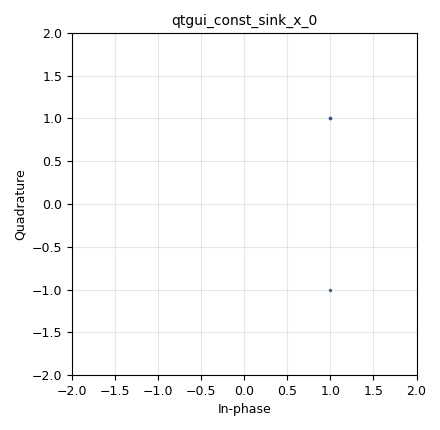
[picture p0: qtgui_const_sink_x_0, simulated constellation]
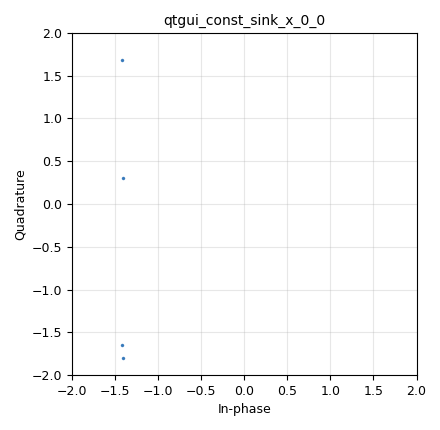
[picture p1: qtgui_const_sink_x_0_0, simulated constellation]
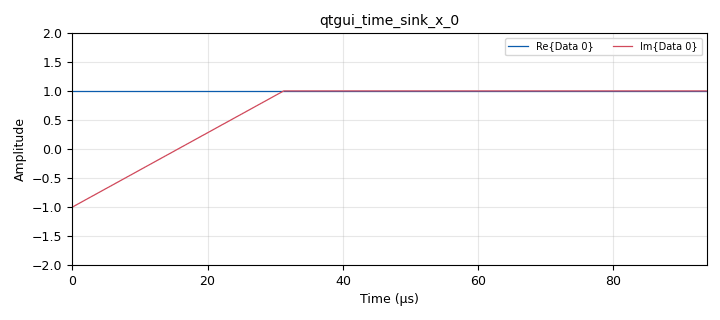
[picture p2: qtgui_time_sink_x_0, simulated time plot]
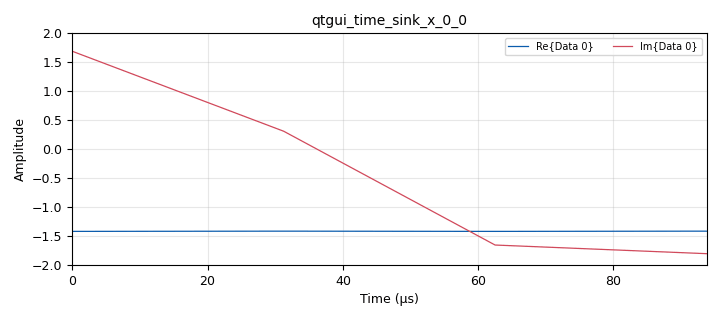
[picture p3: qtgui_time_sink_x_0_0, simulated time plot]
options:
  parameters:
    author: yabool2001
    copyright: mzemlo.pl@gmail.com
    description: QPSK demonstration test
    generate_options: qt_gui
    id: QPSK_test_02
    output_language: python
    title: QPSK test 02
  states: {}

blocks:
- name: const_obj
  id: variable_constellation
  parameters:
    precision: '8'
    type: qpsk
  states: {}
- name: samp_rate
  id: variable
  parameters:
    value: '32000'
  states: {}
- name: sps
  id: variable
  parameters:
    value: '2'
  states: {}
- name: blocks_message_debug_0
  id: blocks_message_debug
  parameters: {}
  states: {}
- name: blocks_message_strobe_1
  id: blocks_message_strobe
  parameters:
    msg: pmt.init_u8vector ( 1 , [ 0x00 , 0x01 , 0x02 , 0x03 ] )
    period: '1000'
  states: {}
- name: blocks_repack_bits_bb_0
  id: blocks_repack_bits_bb
  parameters:
    endianness: gr.GR_LSB_FIRST
    k: '8'
    l: '2'
    len_tag_key: packet_len
  states: {}
- name: blocks_throttle2_0
  id: blocks_throttle2
  parameters:
    samples_per_second: samp_rate
    type: byte
  states: {}
- name: blocks_vector_source_x_0
  id: blocks_vector_source_x
  parameters:
    repeat: 'True'
    type: byte
    vector: ( 0 , 1 , 1 , 0 )
  states: {state: disabled}
- name: digital_chunks_to_symbols_xx_0
  id: digital_chunks_to_symbols_xx
  parameters:
    dimension: '1'
    in_type: byte
    out_type: complex
    symbol_table: '[ 1+1j , -1+1j , -1-1j , 1-1j ]'
  states: {}
- name: digital_constellation_modulator_0
  id: digital_constellation_modulator
  parameters:
    constellation: const_obj
    differential: 'False'
    excess_bw: '0.35'
    log: 'True'
    samples_per_symbol: sps
  states: {}
- name: epy_block_0
  id: epy_block
  parameters:
    _source_code: |
      from gnuradio import gr
      import numpy as np
      import time
      import os

      class complex_logger(gr.sync_block):
          def __init__(self, samp_rate=32000, filename="complex_log.csv"):
              gr.sync_block.__init__(self,
                  name="COMPLEX FILE SINK",
                  in_sig=[np.complex64],
                  out_sig=None)
              self.filename = filename
              self.samp_rate = samp_rate
              self.start_time = time.time()

              file_exists = os.path.isfile(filename)
              self.f = open(filename, "w", encoding="utf-8")

              if not file_exists or os.stat(filename).st_size == 0:
                  self.f.write("timestamp;real;imag;samp_rate\n")

          def work(self, input_items, output_items):
              current_time = time.time()
              elapsed = current_time - self.start_time

              for c in input_items[0]:
                  timestamp = elapsed
                  ts = f"{timestamp:.6f}".replace('.', ',')
                  re = f"{c.real:.6f}".replace('.', ',')
                  im = f"{c.imag:.6f}".replace('.', ',')
                  sr = f"{self.samp_rate:.0f}".replace('.', ',')
                  self.f.write(f"{ts};{re};{im};{sr}\n")
                  elapsed += 1 / self.samp_rate

              self.f.flush()
              return len(input_items[0])
    filename: '"complex_log.csv"'
    samp_rate: samp_rate
  states: {}
- name: epy_block_0_0
  id: epy_block
  parameters:
    _source_code: |
      from gnuradio import gr
      import numpy as np
      import time
      import os

      class complex_sps_file_sink(gr.sync_block):
          def __init__(self, samp_rate=32000, sps=2, filename="complex_log.csv"):
              gr.sync_block.__init__(self,
                  name="Complex Sps File Sink",
                  in_sig=[np.complex64],
                  out_sig=None)
              self.filename = filename
              self.samp_rate = samp_rate
              self.sps = sps
              self.start_time = time.time()
              self.sample_index = 0  # licznik próbek

              file_exists = os.path.isfile(filename)
              self.f = open(filename, "w", encoding="utf-8")

              if not file_exists or os.stat(filename).st_size == 0:
                  self.f.write("timestamp;real;imag;symbol_index;samp_rate\n")

          def work(self, input_items, output_items):
              elapsed = time.time() - self.start_time
              for c in input_items[0]:
                  timestamp = elapsed
                  ts = f"{timestamp:.6f}".replace('.', ',')
                  re = f"{c.real:.6f}".replace('.', ',')
                  im = f"{c.imag:.6f}".replace('.', ',')
                  symbol_idx = str(self.sample_index // self.sps)
                  sr = f"{self.samp_rate:.0f}".replace('.', ',')

                  self.f.write(f"{ts};{re};{im};{symbol_idx};{sr}\n")

                  elapsed += 1 / self.samp_rate
                  self.sample_index += 1

              self.f.flush()
              return len(input_items[0])
    filename: '"complex_grc-mod_log.csv"'
    samp_rate: samp_rate
    sps: sps
  states: {}
- name: epy_block_1
  id: epy_block
  parameters:
    _source_code: |
      from gnuradio import gr
      import numpy as np
      import time
      import os

      class byte_logger(gr.sync_block):
          def __init__(self, samp_rate=32000, filename="byte_log.csv"):
              gr.sync_block.__init__(self,
                  name="BYTE FILE SINK",
                  in_sig=[np.uint8],
                  out_sig=None)
              self.filename = filename
              self.samp_rate = samp_rate
              self.start_time = time.time()

              file_exists = os.path.isfile(filename)
              self.f = open(filename, "w", encoding="utf-8")

              if not file_exists or os.stat(filename).st_size == 0:
                  self.f.write("timestamp;byte;samp_rate\n")

          def work(self, input_items, output_items):
              current_time = time.time()
              elapsed = current_time - self.start_time

              for i, b in enumerate(input_items[0]):
                  timestamp = elapsed + (i / self.samp_rate)
                  ts = f"{timestamp:.6f}".replace('.', ',')
                  val = str(b)
                  sr = f"{self.samp_rate:.0f}".replace('.', ',')
                  self.f.write(f"{ts};{val};{sr}\n")

              self.f.flush()
              return len(input_items[0])
    filename: '"byte_log.csv"'
    samp_rate: samp_rate
  states: {}
- name: pdu_pdu_to_tagged_stream_0
  id: pdu_pdu_to_tagged_stream
  parameters:
    tag: packet_len
    type: byte
  states: {}
- name: pdu_random_pdu_0
  id: pdu_random_pdu
  parameters:
    length_modulo: '1'
    mask: '0x03'
    maxsize: '1'
    minsize: '1'
  states: {}
- name: qtgui_const_sink_x_0
  id: qtgui_const_sink_x
  parameters:
    size: '4'
    type: complex
  states: {}
- name: qtgui_const_sink_x_0_0
  id: qtgui_const_sink_x
  parameters:
    size: '4'
    type: complex
  states: {}
- name: qtgui_time_sink_x_0
  id: qtgui_time_sink_x
  parameters:
    size: '4'
    srate: samp_rate
    type: complex
    ymax: '2'
    ymin: '-2'
  states: {}
- name: qtgui_time_sink_x_0_0
  id: qtgui_time_sink_x
  parameters:
    size: '4'
    srate: samp_rate
    type: complex
    ymax: '2'
    ymin: '-2'
  states: {}

connections:
- [blocks_message_strobe_1, strobe, pdu_random_pdu_0, generate]
- [blocks_repack_bits_bb_0, '0', digital_chunks_to_symbols_xx_0, '0']
- [blocks_throttle2_0, '0', blocks_repack_bits_bb_0, '0']
- [blocks_throttle2_0, '0', digital_constellation_modulator_0, '0']
- [digital_chunks_to_symbols_xx_0, '0', epy_block_0, '0']
- [digital_chunks_to_symbols_xx_0, '0', qtgui_const_sink_x_0, '0']
- [digital_chunks_to_symbols_xx_0, '0', qtgui_time_sink_x_0, '0']
- [digital_constellation_modulator_0, '0', epy_block_0_0, '0']
- [digital_constellation_modulator_0, '0', qtgui_const_sink_x_0_0, '0']
- [digital_constellation_modulator_0, '0', qtgui_time_sink_x_0_0, '0']
- [pdu_pdu_to_tagged_stream_0, '0', blocks_throttle2_0, '0']
- [pdu_pdu_to_tagged_stream_0, '0', epy_block_1, '0']
- [pdu_random_pdu_0, pdus, blocks_message_debug_0, print]
- [pdu_random_pdu_0, pdus, pdu_pdu_to_tagged_stream_0, pdus]

metadata:
  file_format: 1
  grc_version: 3.10.12.0
